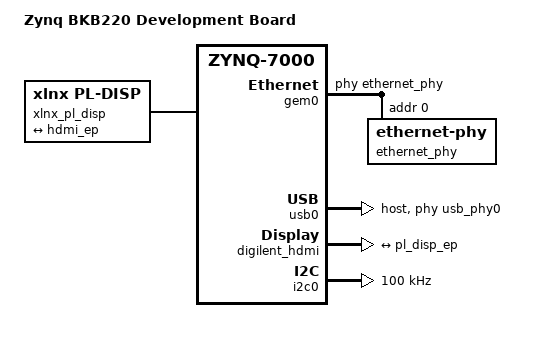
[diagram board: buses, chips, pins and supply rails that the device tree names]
/include/ "system-conf.dtsi"
#include <dt-bindings/gpio/gpio.h>
#include <dt-bindings/media/xilinx-vip.h>

/ {
	model = "Zynq BKB220 Development Board";
	compatible = "bkb,b220", "xlnx,zynq-7000";

	chosen {
		bootargs = "console=ttyPS0,115200 earlyprintk root=/dev/mmcblk0p2 rw rootwait cma=256M";
	};

	usb_phy0: usb_phy@0 {
		compatible = "ulpi-phy";
		#phy-cells = <0>;
		reg = <0xe0002000 0x1000>;
		view-port = <0x0170>;
		drv-vbus;
	};
};


&amba {
    zyxclmm_drm {
        compatible = "xlnx,zocl";
        status = "okay";
        interrupt-parent = <&axi_intc_0>;
        interrupts = <0  4>, <1  4>, <2  4>, <3  4>,
                     <4  4>, <5  4>, <6  4>, <7  4>,
                     <8  4>, <9  4>, <10 4>, <11 4>,
                     <12 4>, <13 4>, <14 4>, <15 4>,
                     <16 4>, <17 4>, <18 4>, <19 4>,
                     <20 4>, <21 4>, <22 4>, <23 4>,
                     <24 4>, <25 4>, <26 4>, <27 4>,
                     <28 4>, <29 4>, <30 4>, <31 4>;
    };  
};


&axi_intc_0 { 
    xlnx,kind-of-intr = <0x0>;
    xlnx,num-intr-inputs = <0x20>;
    interrupt-parent = <&gic>;
    interrupts = <0 0x59 4>;
};



&gem0 {
        phy-handle = <&ethernet_phy>;
        ethernet_phy: ethernet-phy@0 {
                device_type = "ethernet-phy";
                reg = <0>;
                /* dt-bindings/phy/realtek.h */
                /* #define REALTEK_LED_LINK10              BIT(0)
                   #define REALTEK_LED_LINK100             BIT(1)
                   #define REALTEK_LED_LINK1000            BIT(3)
                   #define REALTEK_LED_ACT                 BIT(4)
                   #define REALTEK_LED_DEFAULT             BIT(7)
                */
                /* LED0=10+A, LED1=100+A, LED2=1000+A */
                realtek,leds-config = <0x11 0x12 0x18>;
        };
};

&usb0 {	
	dr_mode = "host";
	usb-phy = <&usb_phy0>;
};


&amba_pl {
	digilent_hdmi {
		compatible = "digilent,hdmi";

		clocks = <&axi_dynclk_0>;
		clock-names = "clk";

		digilent,edid-i2c = <&i2c0>;
		digilent,fmax = <150000>;

		port@0 {
			hdmi_ep: endpoint {
				remote-endpoint = <&pl_disp_ep>;
			};
		};
	};

	zyxclmm_drm {
        compatible="ichiri_disabled,jcl";
        status="disabled";
    		};

	xlnx_pl_disp {
		compatible = "xlnx,pl-disp";

		dmas = <&axi_vdma_1 0>;
		dma-names = "dma0";

		/*
		 * See Documentation/devicetree/bindings/dma/xilinx/xilinx_frmbuf.txt
		 * to find the equivalent DRM fourcc code for the format selected in
		 * the Frame Buffer Reader, then see See include/uapi/drm/drm_fourcc.h
		 * to find the corresponding 4-char string that should be placed here.
		 */
		xlnx,vformat = "XR24";
		xlnx,bridge = <&v_tc_out>;

		port@0 {
			pl_disp_ep: endpoint {
				remote-endpoint = <&hdmi_ep>;
			};
		};
	};
};

&v_tc_out {
	compatible = "xlnx,bridge-v-tc-6.1";
	xlnx,pixels-per-clock = <1>;
};

&axi_dynclk_0 {
	compatible = "dglnt,axi-dynclk";
	#clock-cells = <0>;
	clocks = <&clkc 15>;
};

&axi_vdma_1 {
	dma-ranges = <0x00000000 0x00000000 0x40000000>;
};


&i2c0 {
	clock-frequency = <100000>;
	status = "okay";
};


